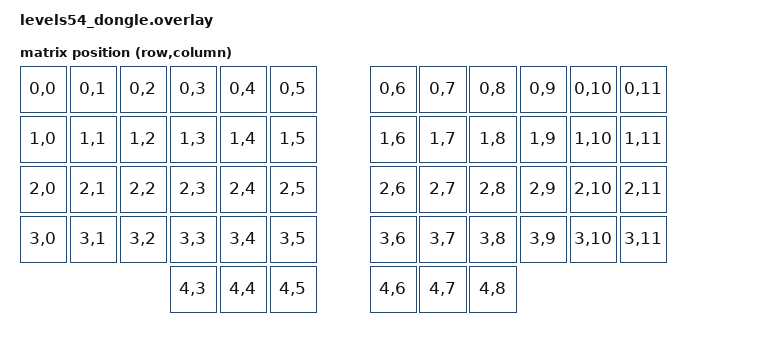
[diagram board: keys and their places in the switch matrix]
// Dongle overlay for Levels54 using a Prospector-based central. It provides
// a mock kscan (no keys), copies the matrix transform, and defines pointing
// listeners for both halves.

#include <dt-bindings/zmk/matrix_transform.h>

 / {
    /* Use a mock scanner—no physical keys on the dongle. */
    chosen {
        zmk,kscan = &mock_kscan;
        zmk,physical-layout = &physical_layout0;
    };

    mock_kscan: mock_kscan_0 {
        compatible = "zmk,kscan-mock";
        columns = <0>;
        rows    = <0>;
        events  = <0>;
    };

    /* Matrix transform copied from boards/arm/levels54/levels54.dts. */
    default_transform: keymap_transform0 {
        compatible = "zmk,matrix-transform";
        columns = <12>;
        rows    = <5>;
        map = <
            /* row0 */ RC(0,0) RC(0,1) RC(0,2) RC(0,3) RC(0,4) RC(0,5)      RC(0,6) RC(0,7) RC(0,8) RC(0,9) RC(0,10) RC(0,11)
            /* row1 */ RC(1,0) RC(1,1) RC(1,2) RC(1,3) RC(1,4) RC(1,5)      RC(1,6) RC(1,7) RC(1,8) RC(1,9) RC(1,10) RC(1,11)
            /* row2 */ RC(2,0) RC(2,1) RC(2,2) RC(2,3) RC(2,4) RC(2,5)      RC(2,6) RC(2,7) RC(2,8) RC(2,9) RC(2,10) RC(2,11)
            /* row3 */ RC(3,0) RC(3,1) RC(3,2) RC(3,3) RC(3,4) RC(3,5)      RC(3,6) RC(3,7) RC(3,8) RC(3,9) RC(3,10) RC(3,11)
            /* row4 */                      RC(4,3) RC(4,4) RC(4,5)      RC(4,6) RC(4,7) RC(4,8)
        >;
    };

    {
    physical_layout0: physical_layout_0 {
        compatible = "zmk,physical-layout";
        display-name = "Default Layout";
        transform = <&default_transform>;
        };
    };

    /* Define pointing listeners for both halves. These are local to this
     * overlay and do not reference the board DTS, so they compile on any MCU.
     */
    trackball_peripheral_listener: trackball_listener_split {
        compatible = "zmk,pointing-device-split-listener";
        status = "okay";
    };

    trackball_central_listener: trackball_listener_split2 {
        compatible = "zmk,pointing-device-split-listener";
        status = "okay";
    };
 };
